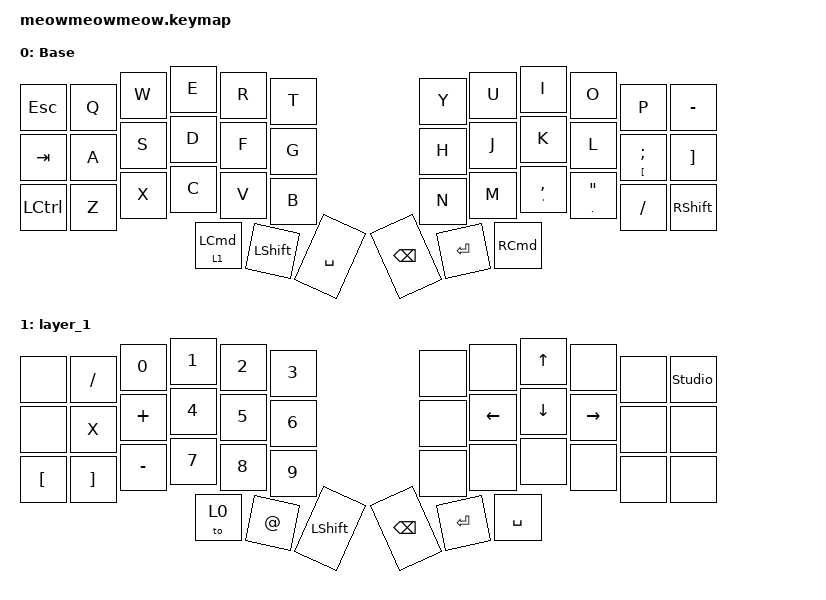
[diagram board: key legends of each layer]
#include <behaviors.dtsi>
#include <dt-bindings/zmk/keys.h>

/ {
    behaviors {
        new_behavior: new_behavior {
            compatible = "zmk,behavior-hold-tap";
            label = "NEW_BEHAVIOR";
            bindings = <&to>, <&kp>;

            #binding-cells = <2>;
            tapping-term-ms = <275>;
            flavor = "balanced";
        };

        commaapostrophe: new_behaviorr {
            compatible = "zmk,behavior-hold-tap";
            label = "comma,apostophe";
            bindings = <&kp>, <&kp>;

            #binding-cells = <2>;
            tapping-term-ms = <247>;
        };
    };

    keymap {
        compatible = "zmk,keymap";

        default_layer {
            display-name = "Base";
            bindings = <
&kp ESCAPE        &kp Q  &kp W  &kp E                         &kp R      &kp T      &kp Y          &kp U      &kp I                              &kp O                               &kp P                                    &kp MINUS
&kp TAB           &kp A  &kp S  &kp D                         &kp F      &kp G      &kp H          &kp J      &kp K                              &kp L                               &commaapostrophe LEFT_BRACKET SEMICOLON  &kp RIGHT_BRACKET
&kp LEFT_CONTROL  &kp Z  &kp X  &kp C                         &kp V      &kp B      &kp N          &kp M      &commaapostrophe APOSTROPHE COMMA  &commaapostrophe DOT DOUBLE_QUOTES  &kp FSLH                                 &kp RIGHT_SHIFT
                                &new_behavior 1 LEFT_COMMAND  &kp LSHFT  &kp SPACE  &kp BACKSPACE  &kp ENTER  &kp RIGHT_COMMAND
            >;
        };

        layer_1 {
            bindings = <
&none             &kp SLASH          &kp N0     &kp N1  &kp N2  &kp N3          &none          &none           &kp UP_ARROW  &none      &none  &studio_unlock
&none             &kp X              &kp PLUS   &kp N4  &kp N5  &kp N6          &none          &kp LEFT_ARROW  &kp DOWN      &kp RIGHT  &none  &none
&kp LEFT_BRACKET  &kp RIGHT_BRACKET  &kp MINUS  &kp N7  &kp N8  &kp N9          &none          &none           &none         &none      &none  &none
                                                &to 0   &kp AT  &kp LEFT_SHIFT  &kp BACKSPACE  &kp ENTER       &kp SPACE
            >;
        };
    };
};
